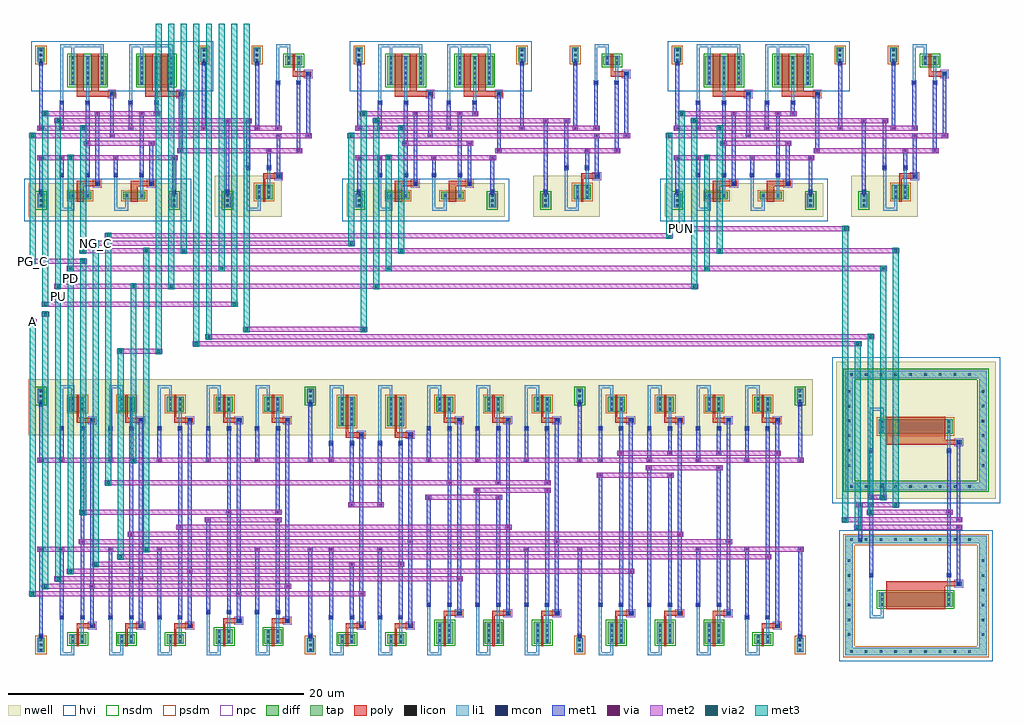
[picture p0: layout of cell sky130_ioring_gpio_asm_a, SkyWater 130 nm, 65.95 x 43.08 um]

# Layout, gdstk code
import gdstk
lib = gdstk.Library(unit=1e-6, precision=1e-09)
def R(c, l, rs):  # rectangles x0, y0, x1, y1
    for r in rs: c.add(gdstk.rectangle(r[:2], r[2:], *l))
def A(c, l, x, y, w, h, nx, ny, dx, dy):  # array of equal rectangles
    R(c, l, [(x+i*dx, y+j*dy, x+i*dx+w, y+j*dy+h) for i in range(nx) for j in range(ny)])
nwell = (64, 20)
diff = (65, 20)
tap = (65, 44)
poly = (66, 20)
licon = (66, 44)
li1 = (67, 20)
mcon = (67, 44)
met1 = (68, 20)
via = (68, 44)
met2 = (69, 20)
via2 = (69, 44)
met3 = (70, 20)
hvi = (75, 20)
nsdm = (93, 44)
psdm = (94, 20)
npc = (95, 20)

sky130_ioring_gpio_logic = lib.new_cell('sky130_ioring_gpio_logic')
R(sky130_ioring_gpio_logic, nwell, [(0.4,15.57,53.4,19.34)])
A(sky130_ioring_gpio_logic, diff, 3.15, 1.47, 1.15, 0.65, 3, 1, 3.3, 0)
A(sky130_ioring_gpio_logic, diff, 27.95, 1.47, 1.15, 1.5, 3, 1, 3.3, 0)
A(sky130_ioring_gpio_logic, diff, 39.55, 1.47, 1.15, 1.5, 3, 1, 3.3, 0)
A(sky130_ioring_gpio_logic, diff, 3.15, 17.17, 1.15, 1, 5, 1, 3.3, 0)
A(sky130_ioring_gpio_logic, diff, 27.95, 17.17, 1.15, 1, 3, 1, 3.3, 0)
A(sky130_ioring_gpio_logic, diff, 39.55, 17.17, 1.15, 1, 4, 1, 3.3, 0)
R(sky130_ioring_gpio_logic, diff, [(13.05,1.47,14.2,2.47), (16.35,1.47,17.5,2.47), (21.35,1.47,22.5,2.12), (24.65,1.47,25.8,2.12), (49.45,1.47,50.6,2.12), (21.35,16.17,22.5,18.17), (24.65,16.17,25.8,18.17)])
A(sky130_ioring_gpio_logic, tap, 1, 0.9, 0.5, 1, 3, 2, 18.2, 16.84)
R(sky130_ioring_gpio_logic, tap, [(52.3,0.9,52.8,1.9), (52.3,17.74,52.8,18.74)])
A(sky130_ioring_gpio_logic, poly, 3.65, 1.32, 0.15, 1.2, 3, 1, 3.3, 0)
A(sky130_ioring_gpio_logic, poly, 28.45, 1.32, 0.15, 2.05, 3, 1, 3.3, 0)
A(sky130_ioring_gpio_logic, poly, 40.05, 1.32, 0.15, 2.05, 3, 1, 3.3, 0)
A(sky130_ioring_gpio_logic, poly, 3.65, 2.52, 1.25, 0.35, 3, 1, 3.3, 0)
A(sky130_ioring_gpio_logic, poly, 28.45, 3.37, 1.25, 0.35, 3, 2, 3.3, 13.05)
A(sky130_ioring_gpio_logic, poly, 40.05, 3.37, 1.25, 0.35, 3, 1, 3.3, 0)
A(sky130_ioring_gpio_logic, poly, 3.65, 16.42, 1.25, 0.35, 5, 1, 3.3, 0)
A(sky130_ioring_gpio_logic, poly, 40.05, 16.42, 1.25, 0.35, 4, 1, 3.3, 0)
A(sky130_ioring_gpio_logic, poly, 3.65, 16.77, 0.15, 1.55, 5, 1, 3.3, 0)
A(sky130_ioring_gpio_logic, poly, 28.45, 16.77, 0.15, 1.55, 3, 1, 3.3, 0)
A(sky130_ioring_gpio_logic, poly, 40.05, 16.77, 0.15, 1.55, 4, 1, 3.3, 0)
R(sky130_ioring_gpio_logic, poly, [(13.55,1.32,13.7,2.87), (16.85,1.32,17,2.87), (21.85,1.32,22,2.52), (25.15,1.32,25.3,2.52), (49.95,1.32,50.1,2.52), (21.85,2.52,23.1,2.87), (25.15,2.52,26.4,2.87), (49.95,2.52,51.2,2.87), (13.55,2.87,14.8,3.22), (16.85,2.87,18.1,3.22), (21.85,15.42,23.1,15.77), (25.15,15.42,26.4,15.77), (21.85,15.77,22,18.32), (25.15,15.77,25.3,18.32)])
A(sky130_ioring_gpio_logic, licon, 1.165, 0.975, 0.17, 0.17, 3, 3, 18.2, 0.34)
A(sky130_ioring_gpio_logic, licon, 52.465, 0.975, 0.17, 0.17, 1, 3, 0, 0.34)
A(sky130_ioring_gpio_logic, licon, 13.215, 1.545, 0.17, 0.17, 1, 3, 0, 0.34)
A(sky130_ioring_gpio_logic, licon, 13.865, 1.545, 0.17, 0.17, 1, 3, 0, 0.34)
A(sky130_ioring_gpio_logic, licon, 16.515, 1.545, 0.17, 0.17, 1, 3, 0, 0.34)
A(sky130_ioring_gpio_logic, licon, 17.165, 1.545, 0.17, 0.17, 1, 3, 0, 0.34)
A(sky130_ioring_gpio_logic, licon, 28.115, 1.625, 0.17, 0.17, 1, 4, 0, 0.34)
A(sky130_ioring_gpio_logic, licon, 28.765, 1.625, 0.17, 0.17, 1, 4, 0, 0.34)
A(sky130_ioring_gpio_logic, licon, 31.415, 1.625, 0.17, 0.17, 1, 4, 0, 0.34)
A(sky130_ioring_gpio_logic, licon, 32.065, 1.625, 0.17, 0.17, 1, 4, 0, 0.34)
A(sky130_ioring_gpio_logic, licon, 34.715, 1.625, 0.17, 0.17, 1, 4, 0, 0.34)
A(sky130_ioring_gpio_logic, licon, 35.365, 1.625, 0.17, 0.17, 1, 4, 0, 0.34)
A(sky130_ioring_gpio_logic, licon, 39.715, 1.625, 0.17, 0.17, 1, 4, 0, 0.34)
A(sky130_ioring_gpio_logic, licon, 40.365, 1.625, 0.17, 0.17, 1, 4, 0, 0.34)
A(sky130_ioring_gpio_logic, licon, 43.015, 1.625, 0.17, 0.17, 1, 4, 0, 0.34)
A(sky130_ioring_gpio_logic, licon, 43.665, 1.625, 0.17, 0.17, 1, 4, 0, 0.34)
A(sky130_ioring_gpio_logic, licon, 46.315, 1.625, 0.17, 0.17, 1, 4, 0, 0.34)
A(sky130_ioring_gpio_logic, licon, 46.965, 1.625, 0.17, 0.17, 1, 4, 0, 0.34)
A(sky130_ioring_gpio_logic, licon, 4.615, 2.61, 0.17, 0.17, 3, 1, 3.3, 0)
A(sky130_ioring_gpio_logic, licon, 29.415, 3.46, 0.17, 0.17, 3, 2, 3.3, 13.05)
A(sky130_ioring_gpio_logic, licon, 41.015, 3.46, 0.17, 0.17, 3, 1, 3.3, 0)
A(sky130_ioring_gpio_logic, licon, 21.515, 16.235, 0.17, 0.17, 1, 6, 0, 0.34)
A(sky130_ioring_gpio_logic, licon, 22.165, 16.235, 0.17, 0.17, 1, 6, 0, 0.34)
A(sky130_ioring_gpio_logic, licon, 24.815, 16.235, 0.17, 0.17, 1, 6, 0, 0.34)
A(sky130_ioring_gpio_logic, licon, 25.465, 16.235, 0.17, 0.17, 1, 6, 0, 0.34)
A(sky130_ioring_gpio_logic, licon, 4.615, 16.51, 0.17, 0.17, 5, 1, 3.3, 0)
A(sky130_ioring_gpio_logic, licon, 41.015, 16.51, 0.17, 0.17, 4, 1, 3.3, 0)
A(sky130_ioring_gpio_logic, licon, 3.315, 17.245, 0.17, 0.17, 1, 3, 0, 0.34)
A(sky130_ioring_gpio_logic, licon, 3.965, 17.245, 0.17, 0.17, 1, 3, 0, 0.34)
A(sky130_ioring_gpio_logic, licon, 6.615, 17.245, 0.17, 0.17, 1, 3, 0, 0.34)
A(sky130_ioring_gpio_logic, licon, 7.265, 17.245, 0.17, 0.17, 1, 3, 0, 0.34)
A(sky130_ioring_gpio_logic, licon, 9.915, 17.245, 0.17, 0.17, 1, 3, 0, 0.34)
A(sky130_ioring_gpio_logic, licon, 10.565, 17.245, 0.17, 0.17, 1, 3, 0, 0.34)
A(sky130_ioring_gpio_logic, licon, 13.215, 17.245, 0.17, 0.17, 1, 3, 0, 0.34)
A(sky130_ioring_gpio_logic, licon, 13.865, 17.245, 0.17, 0.17, 1, 3, 0, 0.34)
A(sky130_ioring_gpio_logic, licon, 16.515, 17.245, 0.17, 0.17, 1, 3, 0, 0.34)
A(sky130_ioring_gpio_logic, licon, 17.165, 17.245, 0.17, 0.17, 1, 3, 0, 0.34)
A(sky130_ioring_gpio_logic, licon, 28.115, 17.245, 0.17, 0.17, 1, 3, 0, 0.34)
A(sky130_ioring_gpio_logic, licon, 28.765, 17.245, 0.17, 0.17, 1, 3, 0, 0.34)
A(sky130_ioring_gpio_logic, licon, 31.415, 17.245, 0.17, 0.17, 1, 3, 0, 0.34)
A(sky130_ioring_gpio_logic, licon, 32.065, 17.245, 0.17, 0.17, 1, 3, 0, 0.34)
A(sky130_ioring_gpio_logic, licon, 34.715, 17.245, 0.17, 0.17, 1, 3, 0, 0.34)
A(sky130_ioring_gpio_logic, licon, 35.365, 17.245, 0.17, 0.17, 1, 3, 0, 0.34)
A(sky130_ioring_gpio_logic, licon, 39.715, 17.245, 0.17, 0.17, 1, 3, 0, 0.34)
A(sky130_ioring_gpio_logic, licon, 40.365, 17.245, 0.17, 0.17, 1, 3, 0, 0.34)
A(sky130_ioring_gpio_logic, licon, 43.015, 17.245, 0.17, 0.17, 1, 3, 0, 0.34)
A(sky130_ioring_gpio_logic, licon, 43.665, 17.245, 0.17, 0.17, 1, 3, 0, 0.34)
A(sky130_ioring_gpio_logic, licon, 46.315, 17.245, 0.17, 0.17, 1, 3, 0, 0.34)
A(sky130_ioring_gpio_logic, licon, 46.965, 17.245, 0.17, 0.17, 1, 3, 0, 0.34)
A(sky130_ioring_gpio_logic, licon, 49.615, 17.245, 0.17, 0.17, 1, 3, 0, 0.34)
A(sky130_ioring_gpio_logic, licon, 50.265, 17.245, 0.17, 0.17, 1, 3, 0, 0.34)
A(sky130_ioring_gpio_logic, licon, 1.165, 17.815, 0.17, 0.17, 3, 3, 18.2, 0.34)
A(sky130_ioring_gpio_logic, licon, 52.465, 17.815, 0.17, 0.17, 1, 3, 0, 0.34)
R(sky130_ioring_gpio_logic, licon, [(3.315,1.54,3.485,1.71), (3.965,1.54,4.135,1.71), (6.615,1.54,6.785,1.71), (7.265,1.54,7.435,1.71), (9.915,1.54,10.085,1.71), (10.565,1.54,10.735,1.71), (21.515,1.54,21.685,1.71), (22.165,1.54,22.335,1.71), (24.815,1.54,24.985,1.71), (25.465,1.54,25.635,1.71), (49.615,1.54,49.785,1.71), (50.265,1.54,50.435,1.71), (3.315,1.88,3.485,2.05), (3.965,1.88,4.135,2.05), (6.615,1.88,6.785,2.05), (7.265,1.88,7.435,2.05), (9.915,1.88,10.085,2.05), (10.565,1.88,10.735,2.05), (21.515,1.88,21.685,2.05), (22.165,1.88,22.335,2.05), (24.815,1.88,24.985,2.05), (25.465,1.88,25.635,2.05), (49.615,1.88,49.785,2.05), (50.265,1.88,50.435,2.05), (22.815,2.61,22.985,2.78), (26.115,2.61,26.285,2.78), (50.915,2.61,51.085,2.78), (14.515,2.96,14.685,3.13), (17.815,2.96,17.985,3.13), (22.815,15.51,22.985,15.68), (26.115,15.51,26.285,15.68)])
A(sky130_ioring_gpio_logic, li1, 2.55, 0.7, 0.95, 0.2, 5, 2, 3.3, 18.04)
A(sky130_ioring_gpio_logic, li1, 2.55, 0.7, 0.2, 2.72, 3, 1, 3.3, 0)
A(sky130_ioring_gpio_logic, li1, 3.3, 0.7, 0.2, 1.41, 3, 1, 3.3, 0)
A(sky130_ioring_gpio_logic, li1, 20.75, 0.7, 0.95, 0.2, 5, 2, 3.3, 18.04)
A(sky130_ioring_gpio_logic, li1, 27.35, 0.7, 0.2, 3.57, 3, 1, 3.3, 0)
A(sky130_ioring_gpio_logic, li1, 28.1, 0.7, 0.2, 2.175, 3, 1, 3.3, 0)
A(sky130_ioring_gpio_logic, li1, 38.95, 0.7, 0.95, 0.2, 4, 2, 3.3, 18.04)
A(sky130_ioring_gpio_logic, li1, 38.95, 0.7, 0.2, 3.57, 3, 1, 3.3, 0)
A(sky130_ioring_gpio_logic, li1, 39.7, 0.7, 0.2, 2.175, 3, 1, 3.3, 0)
A(sky130_ioring_gpio_logic, li1, 1.05, 0.95, 0.4, 0.9, 3, 2, 18.2, 16.84)
A(sky130_ioring_gpio_logic, li1, 3.95, 1.48, 0.2, 1.94, 3, 1, 3.3, 0)
A(sky130_ioring_gpio_logic, li1, 28.75, 1.565, 0.2, 2.705, 3, 1, 3.3, 0)
A(sky130_ioring_gpio_logic, li1, 40.35, 1.565, 0.2, 2.705, 3, 1, 3.3, 0)
A(sky130_ioring_gpio_logic, li1, 1.1, 1.85, 0.3, 0.3, 3, 2, 18.2, 15.64)
A(sky130_ioring_gpio_logic, li1, 4.55, 2.52, 0.3, 0.35, 3, 1, 3.3, 0)
A(sky130_ioring_gpio_logic, li1, 3.95, 3.12, 0.2, 0.2, 3, 1, 3.3, 0)
A(sky130_ioring_gpio_logic, li1, 29.35, 3.37, 0.3, 0.35, 3, 2, 3.3, 13.05)
A(sky130_ioring_gpio_logic, li1, 40.95, 3.37, 0.3, 0.35, 3, 1, 3.3, 0)
A(sky130_ioring_gpio_logic, li1, 28.75, 3.97, 0.2, 0.2, 3, 2, 3.3, 12)
A(sky130_ioring_gpio_logic, li1, 40.35, 3.97, 0.2, 0.2, 3, 1, 3.3, 0)
A(sky130_ioring_gpio_logic, li1, 2.55, 15.87, 0.2, 3.07, 5, 1, 3.3, 0)
A(sky130_ioring_gpio_logic, li1, 3.95, 15.87, 0.2, 2.285, 5, 1, 3.3, 0)
A(sky130_ioring_gpio_logic, li1, 27.35, 15.87, 0.2, 3.07, 3, 1, 3.3, 0)
A(sky130_ioring_gpio_logic, li1, 28.75, 15.87, 0.2, 2.285, 3, 1, 3.3, 0)
A(sky130_ioring_gpio_logic, li1, 38.95, 15.87, 0.2, 3.07, 4, 1, 3.3, 0)
A(sky130_ioring_gpio_logic, li1, 40.35, 15.87, 0.2, 2.285, 4, 1, 3.3, 0)
A(sky130_ioring_gpio_logic, li1, 3.95, 15.97, 0.2, 0.2, 5, 1, 3.3, 0)
A(sky130_ioring_gpio_logic, li1, 40.35, 15.97, 0.2, 0.2, 4, 1, 3.3, 0)
A(sky130_ioring_gpio_logic, li1, 4.55, 16.42, 0.3, 0.35, 5, 1, 3.3, 0)
A(sky130_ioring_gpio_logic, li1, 40.95, 16.42, 0.3, 0.35, 4, 1, 3.3, 0)
A(sky130_ioring_gpio_logic, li1, 3.3, 17.185, 0.2, 1.755, 5, 1, 3.3, 0)
A(sky130_ioring_gpio_logic, li1, 28.1, 17.185, 0.2, 1.755, 3, 1, 3.3, 0)
A(sky130_ioring_gpio_logic, li1, 39.7, 17.185, 0.2, 1.755, 4, 1, 3.3, 0)
R(sky130_ioring_gpio_logic, li1, [(12.45,0.7,12.65,3.77), (13.2,0.7,13.4,2.455), (15.75,0.7,15.95,3.77), (16.5,0.7,16.7,2.455), (20.75,0.7,20.95,3.42), (21.5,0.7,21.7,2.11), (24.05,0.7,24.25,3.42), (24.8,0.7,25,2.11), (48.85,0.7,49.05,3.42), (49.6,0.7,49.8,2.11), (52.35,0.95,52.75,1.85), (22.15,1.48,22.35,3.42), (25.45,1.48,25.65,3.42), (50.25,1.48,50.45,3.42), (13.85,1.485,14.05,3.77), (17.15,1.485,17.35,3.77), (52.4,1.85,52.7,2.15), (22.75,2.52,23.05,2.87), (26.05,2.52,26.35,2.87), (50.85,2.52,51.15,2.87), (14.45,2.87,14.75,3.22), (17.75,2.87,18.05,3.22), (2.5,3.12,2.8,3.42), (3.9,3.12,4.2,3.42), (5.8,3.12,6.1,3.42), (7.2,3.12,7.5,3.42), (9.1,3.12,9.4,3.42), (10.5,3.12,10.8,3.42), (20.7,3.12,21,3.42), (22.1,3.12,22.4,3.42), (22.15,3.12,22.35,3.32), (24,3.12,24.3,3.42), (25.4,3.12,25.7,3.42), (25.45,3.12,25.65,3.32), (48.8,3.12,49.1,3.42), (50.2,3.12,50.5,3.42), (50.25,3.12,50.45,3.32), (12.4,3.47,12.7,3.77), (13.8,3.47,14.1,3.77), (13.85,3.47,14.05,3.67), (15.7,3.47,16,3.77), (17.1,3.47,17.4,3.77), (17.15,3.47,17.35,3.67), (27.3,3.97,27.6,4.27), (28.7,3.97,29,4.27), (30.6,3.97,30.9,4.27), (32,3.97,32.3,4.27), (33.9,3.97,34.2,4.27), (35.3,3.97,35.6,4.27), (38.9,3.97,39.2,4.27), (40.3,3.97,40.6,4.27), (42.2,3.97,42.5,4.27), (43.6,3.97,43.9,4.27), (45.5,3.97,45.8,4.27), (46.9,3.97,47.2,4.27), (20.7,14.87,21,15.17), (20.75,14.87,20.95,18.94), (22.1,14.87,22.4,15.17), (22.15,14.87,22.35,18.165), (24,14.87,24.3,15.17), (24.05,14.87,24.25,18.94), (25.4,14.87,25.7,15.17), (25.45,14.87,25.65,18.165), (22.15,14.97,22.35,15.17), (25.45,14.97,25.65,15.17), (22.75,15.42,23.05,15.77), (26.05,15.42,26.35,15.77), (2.5,15.87,2.8,16.17), (3.9,15.87,4.2,16.17), (5.8,15.87,6.1,16.17), (7.2,15.87,7.5,16.17), (9.1,15.87,9.4,16.17), (10.5,15.87,10.8,16.17), (12.4,15.87,12.7,16.17), (13.8,15.87,14.1,16.17), (15.7,15.87,16,16.17), (17.1,15.87,17.4,16.17), (27.3,15.87,27.6,16.17), (28.7,15.87,29,16.17), (30.6,15.87,30.9,16.17), (32,15.87,32.3,16.17), (33.9,15.87,34.2,16.17), (35.3,15.87,35.6,16.17), (38.9,15.87,39.2,16.17), (40.3,15.87,40.6,16.17), (42.2,15.87,42.5,16.17), (43.6,15.87,43.9,16.17), (45.5,15.87,45.8,16.17), (46.9,15.87,47.2,16.17), (48.8,15.87,49.1,16.17), (50.2,15.87,50.5,16.17), (21.5,16.175,21.7,18.94), (24.8,16.175,25,18.94), (52.4,17.49,52.7,17.79), (52.35,17.79,52.75,18.69)])
A(sky130_ioring_gpio_logic, mcon, 1.165, 1.915, 0.17, 0.17, 3, 2, 18.2, 15.64)
A(sky130_ioring_gpio_logic, mcon, 4.615, 2.61, 0.17, 0.17, 3, 1, 3.3, 0)
A(sky130_ioring_gpio_logic, mcon, 29.415, 3.46, 0.17, 0.17, 3, 2, 3.3, 13.05)
A(sky130_ioring_gpio_logic, mcon, 41.015, 3.46, 0.17, 0.17, 3, 1, 3.3, 0)
A(sky130_ioring_gpio_logic, mcon, 4.615, 16.51, 0.17, 0.17, 5, 1, 3.3, 0)
A(sky130_ioring_gpio_logic, mcon, 41.015, 16.51, 0.17, 0.17, 4, 1, 3.3, 0)
R(sky130_ioring_gpio_logic, mcon, [(52.465,1.915,52.635,2.085), (22.815,2.61,22.985,2.78), (26.115,2.61,26.285,2.78), (50.915,2.61,51.085,2.78), (14.515,2.96,14.685,3.13), (17.815,2.96,17.985,3.13), (2.565,3.185,2.735,3.355), (3.965,3.185,4.135,3.355), (5.865,3.185,6.035,3.355), (7.265,3.185,7.435,3.355), (9.165,3.185,9.335,3.355), (10.565,3.185,10.735,3.355), (20.765,3.185,20.935,3.355), (22.165,3.185,22.335,3.355), (24.065,3.185,24.235,3.355), (25.465,3.185,25.635,3.355), (48.865,3.185,49.035,3.355), (50.265,3.185,50.435,3.355), (12.465,3.535,12.635,3.705), (13.865,3.535,14.035,3.705), (15.765,3.535,15.935,3.705), (17.165,3.535,17.335,3.705), (27.365,4.035,27.535,4.205), (28.765,4.035,28.935,4.205), (30.665,4.035,30.835,4.205), (32.065,4.035,32.235,4.205), (33.965,4.035,34.135,4.205), (35.365,4.035,35.535,4.205), (38.965,4.035,39.135,4.205), (40.365,4.035,40.535,4.205), (42.265,4.035,42.435,4.205), (43.665,4.035,43.835,4.205), (45.565,4.035,45.735,4.205), (46.965,4.035,47.135,4.205), (20.765,14.935,20.935,15.105), (22.165,14.935,22.335,15.105), (24.065,14.935,24.235,15.105), (25.465,14.935,25.635,15.105), (22.815,15.51,22.985,15.68), (26.115,15.51,26.285,15.68), (2.565,15.935,2.735,16.105), (3.965,15.935,4.135,16.105), (5.865,15.935,6.035,16.105), (7.265,15.935,7.435,16.105), (9.165,15.935,9.335,16.105), (10.565,15.935,10.735,16.105), (12.465,15.935,12.635,16.105), (13.865,15.935,14.035,16.105), (15.765,15.935,15.935,16.105), (17.165,15.935,17.335,16.105), (27.365,15.935,27.535,16.105), (28.765,15.935,28.935,16.105), (30.665,15.935,30.835,16.105), (32.065,15.935,32.235,16.105), (33.965,15.935,34.135,16.105), (35.365,15.935,35.535,16.105), (38.965,15.935,39.135,16.105), (40.365,15.935,40.535,16.105), (42.265,15.935,42.435,16.105), (43.665,15.935,43.835,16.105), (45.565,15.935,45.735,16.105), (46.965,15.935,47.135,16.105), (48.865,15.935,49.035,16.105), (50.265,15.935,50.435,16.105), (52.465,17.555,52.635,17.725)])
A(sky130_ioring_gpio_logic, met1, 1.12, 1.87, 0.26, 6.17, 3, 1, 18.2, 0)
A(sky130_ioring_gpio_logic, met1, 2.52, 3.14, 0.26, 4.9, 3, 1, 3.3, 0)
A(sky130_ioring_gpio_logic, met1, 2.48, 7.7, 0.34, 0.34, 3, 1, 3.3, 0)
A(sky130_ioring_gpio_logic, met1, 28.68, 12.2, 0.34, 0.34, 3, 1, 3.3, 0)
A(sky130_ioring_gpio_logic, met1, 28.72, 12.24, 0.26, 3.95, 3, 1, 3.3, 0)
A(sky130_ioring_gpio_logic, met1, 2.48, 13.7, 0.34, 0.34, 5, 1, 3.3, 0)
A(sky130_ioring_gpio_logic, met1, 27.28, 13.7, 0.34, 0.34, 3, 1, 3.3, 0)
A(sky130_ioring_gpio_logic, met1, 38.88, 13.7, 0.34, 0.34, 4, 1, 3.3, 0)
A(sky130_ioring_gpio_logic, met1, 1.12, 13.74, 0.26, 4.07, 3, 1, 18.2, 0)
A(sky130_ioring_gpio_logic, met1, 2.52, 13.74, 0.26, 2.45, 5, 1, 3.3, 0)
A(sky130_ioring_gpio_logic, met1, 27.32, 13.74, 0.26, 2.45, 3, 1, 3.3, 0)
A(sky130_ioring_gpio_logic, met1, 38.92, 13.74, 0.26, 2.45, 4, 1, 3.3, 0)
A(sky130_ioring_gpio_logic, met1, 40.28, 14.2, 0.34, 0.34, 3, 1, 3.3, 0)
A(sky130_ioring_gpio_logic, met1, 40.32, 14.24, 0.26, 1.95, 3, 1, 3.3, 0)
R(sky130_ioring_gpio_logic, met1, [(52.42,1.87,52.68,8.04), (4.57,2.565,4.83,5.54), (7.87,2.565,8.13,6.04), (11.17,2.565,11.43,6.54), (22.77,2.565,23.03,5.04), (26.07,2.565,26.33,8.54), (50.87,2.565,51.13,14.54), (14.47,2.915,14.73,5.04), (17.77,2.915,18.03,5.54), (3.92,3.14,4.18,8.54), (7.22,3.14,7.48,9.04), (10.52,3.14,10.78,9.54), (20.72,3.14,20.98,8.04), (22.12,3.14,22.38,7.04), (24.02,3.14,24.28,8.04), (25.42,3.14,25.68,7.04), (48.82,3.14,49.08,8.04), (50.22,3.14,50.48,7.54), (29.37,3.415,29.63,6.04), (32.67,3.415,32.93,9.54), (35.97,3.415,36.23,8.54), (40.97,3.415,41.23,6.54), (44.27,3.415,44.53,9.04), (47.57,3.415,47.83,8.54), (12.42,3.49,12.68,10.04), (13.82,3.49,14.08,10.54), (15.72,3.49,15.98,8.04), (17.12,3.49,17.38,10.04), (27.32,3.99,27.58,11.54), (28.72,3.99,28.98,12.54), (30.62,3.99,30.88,12.04), (32.02,3.99,32.28,11.54), (33.92,3.99,34.18,8.04), (35.32,3.99,35.58,12.04), (38.92,3.99,39.18,13.04), (40.32,3.99,40.58,14.54), (42.22,3.99,42.48,13.54), (43.62,3.99,43.88,13.04), (45.52,3.99,45.78,8.04), (46.92,3.99,47.18,13.54), (14.43,4.7,14.77,5.04), (22.73,4.7,23.07,5.04), (14.47,4.74,14.73,16.765), (22.77,4.74,23.03,15.765), (4.53,5.2,4.87,5.54), (17.73,5.2,18.07,5.54), (4.57,5.24,4.83,16.765), (17.77,5.24,18.03,16.765), (7.83,5.7,8.17,6.04), (29.33,5.7,29.67,6.04), (7.87,5.74,8.13,16.765), (29.37,5.74,29.63,16.765), (11.13,6.2,11.47,6.54), (40.93,6.2,41.27,6.54), (11.17,6.24,11.43,16.765), (40.97,6.24,41.23,16.765), (22.08,6.7,22.42,7.04), (25.38,6.7,25.72,7.04), (25.42,6.74,25.68,15.19), (50.18,7.2,50.52,7.54), (50.22,7.24,50.48,16.19), (1.08,7.7,1.42,8.04), (15.68,7.7,16.02,8.04), (19.28,7.7,19.62,8.04), (20.68,7.7,21.02,8.04), (23.98,7.7,24.32,8.04), (33.88,7.7,34.22,8.04), (37.48,7.7,37.82,8.04), (45.48,7.7,45.82,8.04), (48.78,7.7,49.12,8.04), (52.38,7.7,52.72,8.04), (3.88,8.2,4.22,8.54), (26.03,8.2,26.37,8.54), (35.93,8.2,36.27,8.54), (47.53,8.2,47.87,8.54), (3.92,8.24,4.18,16.19), (26.07,8.24,26.33,15.765), (35.97,8.24,36.23,16.765), (47.57,8.24,47.83,16.765), (7.18,8.7,7.52,9.04), (44.23,8.7,44.57,9.04), (7.22,8.74,7.48,16.19), (44.27,8.74,44.53,16.765), (10.48,9.2,10.82,9.54), (32.63,9.2,32.97,9.54), (10.52,9.24,10.78,16.19), (32.67,9.24,32.93,16.765), (12.38,9.7,12.72,10.04), (17.08,9.7,17.42,10.04), (13.78,10.2,14.12,10.54), (17.08,10.2,17.42,10.54), (13.82,10.24,14.08,16.19), (17.12,10.24,17.38,16.19), (22.08,10.7,22.42,11.04), (23.98,10.7,24.32,11.04), (22.12,10.74,22.38,15.19), (24.02,10.74,24.28,15.19), (27.28,11.2,27.62,11.54), (31.98,11.2,32.32,11.54), (30.58,11.7,30.92,12.04), (35.28,11.7,35.62,12.04), (38.88,12.7,39.22,13.04), (43.58,12.7,43.92,13.04), (42.18,13.2,42.52,13.54), (46.88,13.2,47.22,13.54), (1.08,13.7,1.42,14.04), (19.28,13.7,19.62,14.04), (20.68,13.7,21.02,14.04), (37.48,13.7,37.82,14.04), (52.38,13.7,52.72,14.04), (20.72,13.74,20.98,15.19), (52.42,13.74,52.68,17.81), (50.83,14.2,51.17,14.54), (50.87,14.24,51.13,16.765)])
A(sky130_ioring_gpio_logic, via, 2.575, 7.795, 0.15, 0.15, 3, 1, 3.3, 0)
A(sky130_ioring_gpio_logic, via, 28.775, 12.295, 0.15, 0.15, 3, 1, 3.3, 0)
A(sky130_ioring_gpio_logic, via, 2.575, 13.795, 0.15, 0.15, 5, 1, 3.3, 0)
A(sky130_ioring_gpio_logic, via, 27.375, 13.795, 0.15, 0.15, 3, 1, 3.3, 0)
A(sky130_ioring_gpio_logic, via, 38.975, 13.795, 0.15, 0.15, 4, 1, 3.3, 0)
A(sky130_ioring_gpio_logic, via, 40.375, 14.295, 0.15, 0.15, 3, 1, 3.3, 0)
R(sky130_ioring_gpio_logic, via, [(14.525,4.795,14.675,4.945), (22.825,4.795,22.975,4.945), (4.625,5.295,4.775,5.445), (17.825,5.295,17.975,5.445), (7.925,5.795,8.075,5.945), (29.425,5.795,29.575,5.945), (11.225,6.295,11.375,6.445), (41.025,6.295,41.175,6.445), (22.175,6.795,22.325,6.945), (25.475,6.795,25.625,6.945), (50.275,7.295,50.425,7.445), (1.175,7.795,1.325,7.945), (15.775,7.795,15.925,7.945), (19.375,7.795,19.525,7.945), (20.775,7.795,20.925,7.945), (24.075,7.795,24.225,7.945), (33.975,7.795,34.125,7.945), (37.575,7.795,37.725,7.945), (45.575,7.795,45.725,7.945), (48.875,7.795,49.025,7.945), (52.475,7.795,52.625,7.945), (3.975,8.295,4.125,8.445), (26.125,8.295,26.275,8.445), (36.025,8.295,36.175,8.445), (47.625,8.295,47.775,8.445), (7.275,8.795,7.425,8.945), (44.325,8.795,44.475,8.945), (10.575,9.295,10.725,9.445), (32.725,9.295,32.875,9.445), (12.475,9.795,12.625,9.945), (17.175,9.795,17.325,9.945), (13.875,10.295,14.025,10.445), (17.175,10.295,17.325,10.445), (22.175,10.795,22.325,10.945), (24.075,10.795,24.225,10.945), (27.375,11.295,27.525,11.445), (32.075,11.295,32.225,11.445), (30.675,11.795,30.825,11.945), (35.375,11.795,35.525,11.945), (38.975,12.795,39.125,12.945), (43.675,12.795,43.825,12.945), (42.275,13.295,42.425,13.445), (46.975,13.295,47.125,13.445), (1.175,13.795,1.325,13.945), (19.375,13.795,19.525,13.945), (20.775,13.795,20.925,13.945), (37.575,13.795,37.725,13.945), (52.475,13.795,52.625,13.945), (50.925,14.295,51.075,14.445)])
R(sky130_ioring_gpio_logic, met2, [(0.45,4.7,23.15,5.04), (1.3,5.2,18.15,5.54), (2.15,5.7,29.75,6.04), (3,6.2,41.35,6.54), (4.7,6.7,25.8,7.04), (6.4,7.2,50.6,7.54), (1,7.7,52.8,8.04), (3.8,8.2,47.95,8.54), (7.1,8.7,44.65,9.04), (10.4,9.2,33.05,9.54), (12.3,9.7,17.5,10.04), (3.85,10.2,17.5,10.54), (22,10.7,24.4,11.04), (27.2,11.2,32.4,11.54), (30.5,11.7,35.7,12.04), (5.55,12.2,35.7,12.54), (38.8,12.7,44,13.04), (42.1,13.2,47.3,13.54), (1,13.7,52.8,14.04), (40.2,14.2,51.25,14.54)])
R(sky130_ioring_gpio_logic, via2, [(0.6,4.77,0.8,4.97), (1.45,5.27,1.65,5.47), (2.3,5.77,2.5,5.97), (3.15,6.27,3.35,6.47), (4.85,6.77,5.05,6.97), (6.55,7.27,6.75,7.47), (8.25,7.77,8.45,7.97), (4,10.27,4.2,10.47), (5.7,12.27,5.9,12.47), (7.4,13.77,7.6,13.97)])
R(sky130_ioring_gpio_logic, met3, [(0.5,4.67,0.9,19.64), (1.35,5.17,1.75,19.64), (2.2,5.67,2.6,19.64), (3.05,6.17,3.45,19.64), (4.75,6.67,5.15,19.64), (6.45,7.17,6.85,19.64), (8.15,7.67,8.55,19.64), (3.9,10.17,4.3,19.64), (5.6,12.17,6,19.64), (7.3,13.67,7.7,19.64)])
A(sky130_ioring_gpio_logic, nsdm, 3.025, 1.345, 1.4, 0.9, 3, 1, 3.3, 0)
A(sky130_ioring_gpio_logic, nsdm, 27.825, 1.345, 1.4, 1.75, 3, 1, 3.3, 0)
A(sky130_ioring_gpio_logic, nsdm, 39.425, 1.345, 1.4, 1.75, 3, 1, 3.3, 0)
A(sky130_ioring_gpio_logic, nsdm, 0.875, 17.615, 0.75, 1.25, 3, 1, 18.2, 0)
R(sky130_ioring_gpio_logic, nsdm, [(12.925,1.345,14.325,2.595), (16.225,1.345,17.625,2.595), (21.225,1.345,22.625,2.245), (24.525,1.345,25.925,2.245), (49.325,1.345,50.725,2.245), (52.175,17.615,52.925,18.865)])
A(sky130_ioring_gpio_logic, psdm, 0.875, 0.775, 0.75, 1.25, 3, 1, 18.2, 0)
A(sky130_ioring_gpio_logic, psdm, 3.025, 17.045, 1.4, 1.25, 5, 1, 3.3, 0)
A(sky130_ioring_gpio_logic, psdm, 27.825, 17.045, 1.4, 1.25, 3, 1, 3.3, 0)
A(sky130_ioring_gpio_logic, psdm, 39.425, 17.045, 1.4, 1.25, 4, 1, 3.3, 0)
R(sky130_ioring_gpio_logic, psdm, [(52.175,0.775,52.925,2.025), (21.225,16.045,22.625,18.295), (24.525,16.045,25.925,18.295)])
A(sky130_ioring_gpio_logic, npc, 4.4, 2.42, 0.6, 0.55, 3, 1, 3.3, 0)
A(sky130_ioring_gpio_logic, npc, 29.2, 3.27, 0.6, 0.55, 3, 2, 3.3, 13.05)
A(sky130_ioring_gpio_logic, npc, 40.8, 3.27, 0.6, 0.55, 3, 1, 3.3, 0)
A(sky130_ioring_gpio_logic, npc, 4.4, 16.32, 0.6, 0.55, 5, 1, 3.3, 0)
A(sky130_ioring_gpio_logic, npc, 40.8, 16.32, 0.6, 0.55, 4, 1, 3.3, 0)
R(sky130_ioring_gpio_logic, npc, [(22.6,2.42,23.2,2.97), (25.9,2.42,26.5,2.97), (50.7,2.42,51.3,2.97), (14.3,2.77,14.9,3.32), (17.6,2.77,18.2,3.32), (22.6,15.32,23.2,15.87), (25.9,15.32,26.5,15.87)])

sky130_ioring_gpio_pulls = lib.new_cell('sky130_ioring_gpio_pulls')
R(sky130_ioring_gpio_pulls, nwell, [(0.1,11.27,10.85,20.54)])
R(sky130_ioring_gpio_pulls, diff, [(2.95,3.97,7.95,4.97), (2.95,15.67,7.95,16.67)])
R(sky130_ioring_gpio_pulls, tap, [(0.7,0.7,10.25,1.2), (0.7,1.2,1.2,8.27), (9.75,1.2,10.25,8.27), (0.7,8.27,10.25,8.77), (0.7,11.87,10.25,12.37), (0.7,12.37,1.2,19.44), (9.75,12.37,10.25,19.44), (0.7,19.44,10.25,19.94)])
R(sky130_ioring_gpio_pulls, poly, [(3.45,3.82,7.45,5.37), (3.45,5.37,8.55,5.72), (3.45,14.92,8.55,15.27), (3.45,15.27,7.45,16.82)])
A(sky130_ioring_gpio_pulls, licon, 1.015, 0.865, 0.17, 0.17, 9, 2, 1, 7.57)
A(sky130_ioring_gpio_pulls, licon, 0.865, 2.015, 0.17, 0.17, 1, 6, 0, 1)
A(sky130_ioring_gpio_pulls, licon, 9.915, 2.015, 0.17, 0.17, 1, 6, 0, 1)
A(sky130_ioring_gpio_pulls, licon, 3.115, 4.045, 0.17, 0.17, 1, 3, 0, 0.34)
A(sky130_ioring_gpio_pulls, licon, 7.615, 4.045, 0.17, 0.17, 1, 3, 0, 0.34)
A(sky130_ioring_gpio_pulls, licon, 1.015, 12.035, 0.17, 0.17, 9, 2, 1, 7.57)
A(sky130_ioring_gpio_pulls, licon, 0.865, 13.455, 0.17, 0.17, 1, 6, 0, 1)
A(sky130_ioring_gpio_pulls, licon, 9.915, 13.455, 0.17, 0.17, 1, 6, 0, 1)
A(sky130_ioring_gpio_pulls, licon, 3.115, 15.745, 0.17, 0.17, 1, 3, 0, 0.34)
A(sky130_ioring_gpio_pulls, licon, 7.615, 15.745, 0.17, 0.17, 1, 3, 0, 0.34)
R(sky130_ioring_gpio_pulls, licon, [(8.265,5.46,8.435,5.63), (8.265,15.01,8.435,15.18)])
R(sky130_ioring_gpio_pulls, li1, [(0.7,0.7,10.25,1.2), (0.7,1.2,1.2,8.27), (9.75,1.2,10.25,8.27), (2.35,3.2,3.3,3.4), (2.35,3.2,2.55,6.27), (3.1,3.2,3.3,4.955), (7.6,3.985,7.8,6.27), (8.2,5.37,8.5,5.72), (2.3,5.97,2.6,6.27), (7.55,5.97,7.85,6.27), (7.6,5.97,7.8,6.17), (0.7,8.27,10.25,8.77), (0.7,11.87,10.25,12.37), (0.7,12.37,1.2,19.44), (9.75,12.37,10.25,19.44), (2.3,14.37,2.6,14.67), (2.35,14.37,2.55,17.44), (7.55,14.37,7.85,14.67), (7.6,14.37,7.8,16.655), (7.6,14.47,7.8,14.67), (8.2,14.92,8.5,15.27), (3.1,15.685,3.3,17.44), (2.35,17.24,3.3,17.44), (0.7,19.44,10.25,19.94)])
R(sky130_ioring_gpio_pulls, mcon, [(8.265,5.46,8.435,5.63), (2.365,6.035,2.535,6.205), (7.615,6.035,7.785,6.205), (1.615,8.435,1.785,8.605), (3.115,12.035,3.285,12.205), (2.365,14.435,2.535,14.605), (7.615,14.435,7.785,14.605), (8.265,15.01,8.435,15.18)])
R(sky130_ioring_gpio_pulls, met1, [(8.22,5.415,8.48,9.54), (2.32,5.99,2.58,11.04), (7.57,5.99,7.83,10.54), (1.57,8.39,1.83,11.04), (8.18,9.2,8.52,9.54), (8.18,9.7,8.52,10.04), (8.22,9.74,8.48,15.265), (7.53,10.2,7.87,10.54), (7.57,10.24,7.83,14.69), (1.53,10.7,1.87,11.04), (2.28,10.7,2.62,11.04), (2.28,11.2,2.62,11.54), (3.03,11.2,3.37,11.54), (2.32,11.24,2.58,14.69), (3.07,11.24,3.33,12.29)])
R(sky130_ioring_gpio_pulls, via, [(8.275,9.295,8.425,9.445), (8.275,9.795,8.425,9.945), (7.625,10.295,7.775,10.445), (1.625,10.795,1.775,10.945), (2.375,10.795,2.525,10.945), (2.375,11.295,2.525,11.445), (3.125,11.295,3.275,11.445)])
R(sky130_ioring_gpio_pulls, met2, [(1.3,9.2,8.6,9.54), (0.45,9.7,8.6,10.04), (2.15,10.2,7.95,10.54), (1.45,10.7,4.35,11.04), (2.2,11.2,3.5,11.54)])
R(sky130_ioring_gpio_pulls, via2, [(1.45,9.27,1.65,9.47), (0.6,9.77,0.8,9.97), (2.3,10.27,2.5,10.47), (4,10.77,4.2,10.97), (3.15,11.27,3.35,11.47)])
R(sky130_ioring_gpio_pulls, met3, [(1.35,9.17,1.75,20.64), (0.5,9.67,0.9,20.64), (2.2,10.17,2.6,20.64), (3.9,10.67,4.3,20.64), (3.05,11.17,3.45,20.64)])
R(sky130_ioring_gpio_pulls, hvi, [(0.3,0.3,10.65,9.17), (-0.2,10.97,11.15,20.84)])
R(sky130_ioring_gpio_pulls, nsdm, [(2.825,3.845,8.075,5.095), (0.575,11.745,10.375,12.495), (0.575,12.245,1.325,19.565), (9.625,12.245,10.375,19.565), (0.575,19.315,10.375,20.065)])
R(sky130_ioring_gpio_pulls, psdm, [(0.575,0.575,10.375,1.325), (0.575,1.075,1.325,8.395), (9.625,1.075,10.375,8.395), (0.575,8.145,10.375,8.895), (2.825,15.545,8.075,16.795)])
R(sky130_ioring_gpio_pulls, npc, [(8.05,5.27,8.65,5.82), (8.05,14.82,8.65,15.37)])

sky130_ioring_gpio_ls = lib.new_cell('sky130_ioring_gpio_ls')
R(sky130_ioring_gpio_ls, nwell, [(13,9.57,17.5,12.34), (0.4,10.07,11.1,12.34)])
R(sky130_ioring_gpio_ls, diff, [(3.15,1.47,5.65,3.47), (7.8,1.47,10.3,3.47), (17.75,1.47,18.9,2.12), (15.75,10.17,16.9,11.17), (3.15,10.67,4.65,11.17), (6.8,10.67,8.3,11.17)])
R(sky130_ioring_gpio_ls, tap, [(1,0.9,1.5,1.9), (12,0.9,12.5,1.9), (15.6,0.9,16.1,1.9), (1,10.74,1.5,11.74), (10,10.74,10.5,11.74), (13.6,10.74,14.1,11.74)])
R(sky130_ioring_gpio_ls, poly, [(3.65,1.32,4.15,3.87), (4.65,1.32,5.15,3.87), (8.3,1.32,8.8,3.87), (9.3,1.32,9.8,3.87), (18.25,1.32,18.4,2.52), (18.25,2.52,19.5,2.87), (3.65,3.87,6.25,4.22), (8.3,3.87,10.9,4.22), (16.25,9.42,17.5,9.77), (16.25,9.77,16.4,11.32), (3.65,9.92,5.25,10.27), (7.3,9.92,8.9,10.27), (3.65,10.27,4.15,11.32), (7.3,10.27,7.8,11.32)])
A(sky130_ioring_gpio_ls, licon, 1.165, 0.975, 0.17, 0.17, 1, 3, 0, 0.34)
A(sky130_ioring_gpio_ls, licon, 12.165, 0.975, 0.17, 0.17, 1, 3, 0, 0.34)
A(sky130_ioring_gpio_ls, licon, 15.765, 0.975, 0.17, 0.17, 1, 3, 0, 0.34)
A(sky130_ioring_gpio_ls, licon, 3.315, 1.535, 0.17, 0.17, 3, 6, 1, 0.34)
A(sky130_ioring_gpio_ls, licon, 7.965, 1.535, 0.17, 0.17, 3, 6, 1, 0.34)
A(sky130_ioring_gpio_ls, licon, 15.915, 10.245, 0.17, 0.17, 1, 3, 0, 0.34)
A(sky130_ioring_gpio_ls, licon, 16.565, 10.245, 0.17, 0.17, 1, 3, 0, 0.34)
A(sky130_ioring_gpio_ls, licon, 1.165, 10.815, 0.17, 0.17, 1, 3, 0, 0.34)
A(sky130_ioring_gpio_ls, licon, 10.165, 10.815, 0.17, 0.17, 1, 3, 0, 0.34)
A(sky130_ioring_gpio_ls, licon, 13.765, 10.815, 0.17, 0.17, 1, 3, 0, 0.34)
R(sky130_ioring_gpio_ls, licon, [(17.915,1.54,18.085,1.71), (18.565,1.54,18.735,1.71), (17.915,1.88,18.085,2.05), (18.565,1.88,18.735,2.05), (19.215,2.61,19.385,2.78), (5.965,3.96,6.135,4.13), (10.615,3.96,10.785,4.13), (17.215,9.51,17.385,9.68), (4.965,10.01,5.135,10.18), (8.615,10.01,8.785,10.18), (3.315,10.835,3.485,11.005), (4.315,10.835,4.485,11.005), (6.965,10.835,7.135,11.005), (7.965,10.835,8.135,11.005)])
R(sky130_ioring_gpio_ls, li1, [(2.55,0.7,5.5,0.9), (2.55,0.7,2.75,4.77), (3.3,0.7,3.5,3.465), (5.3,0.7,5.5,3.465), (7.2,0.7,10.15,0.9), (7.2,0.7,7.4,4.77), (7.95,0.7,8.15,3.465), (9.95,0.7,10.15,3.465), (17.15,0.7,18.1,0.9), (17.15,0.7,17.35,3.42), (17.9,0.7,18.1,2.11), (1.05,0.95,1.45,1.85), (12.05,0.95,12.45,1.85), (15.65,0.95,16.05,1.85), (4.3,1.475,4.5,4.77), (8.95,1.475,9.15,4.77), (18.55,1.48,18.75,3.42), (1.1,1.85,1.4,2.15), (12.1,1.85,12.4,2.15), (15.7,1.85,16,2.15), (19.15,2.52,19.45,2.87), (17.1,3.12,17.4,3.42), (18.5,3.12,18.8,3.42), (18.55,3.12,18.75,3.32), (5.9,3.87,6.2,4.22), (10.55,3.87,10.85,4.22), (2.5,4.47,2.8,4.77), (4.25,4.47,4.55,4.77), (4.3,4.47,4.5,4.67), (7.15,4.47,7.45,4.77), (8.9,4.47,9.2,4.77), (8.95,4.47,9.15,4.67), (15.1,8.87,15.4,9.17), (15.15,8.87,15.35,11.94), (16.5,8.87,16.8,9.17), (16.55,8.87,16.75,11.155), (16.55,8.97,16.75,9.17), (2.5,9.37,2.8,9.67), (2.55,9.37,2.75,11.94), (4.25,9.37,4.55,9.67), (4.3,9.37,4.5,11.065), (6.15,9.37,6.45,9.67), (6.2,9.37,6.4,11.94), (7.9,9.37,8.2,9.67), (7.95,9.37,8.15,11.065), (17.15,9.42,17.45,9.77), (4.3,9.47,4.5,9.67), (7.95,9.47,8.15,9.67), (4.9,9.92,5.2,10.27), (8.55,9.92,8.85,10.27), (15.9,10.185,16.1,11.94), (1.1,10.49,1.4,10.79), (10.1,10.49,10.4,10.79), (13.7,10.49,14,10.79), (3.3,10.775,3.5,11.94), (6.95,10.775,7.15,11.94), (1.05,10.79,1.45,11.69), (10.05,10.79,10.45,11.69), (13.65,10.79,14.05,11.69), (2.55,11.74,3.5,11.94), (6.2,11.74,7.15,11.94), (15.15,11.74,16.1,11.94)])
R(sky130_ioring_gpio_ls, mcon, [(1.165,1.915,1.335,2.085), (12.165,1.915,12.335,2.085), (15.765,1.915,15.935,2.085), (19.215,2.61,19.385,2.78), (17.165,3.185,17.335,3.355), (18.565,3.185,18.735,3.355), (5.965,3.96,6.135,4.13), (10.615,3.96,10.785,4.13), (2.565,4.535,2.735,4.705), (4.315,4.535,4.485,4.705), (7.215,4.535,7.385,4.705), (8.965,4.535,9.135,4.705), (15.165,8.935,15.335,9.105), (16.565,8.935,16.735,9.105), (2.565,9.435,2.735,9.605), (4.315,9.435,4.485,9.605), (6.215,9.435,6.385,9.605), (7.965,9.435,8.135,9.605), (17.215,9.51,17.385,9.68), (4.965,10.01,5.135,10.18), (8.615,10.01,8.785,10.18), (1.165,10.555,1.335,10.725), (10.165,10.555,10.335,10.725), (13.765,10.555,13.935,10.725)])
R(sky130_ioring_gpio_ls, met1, [(1.12,1.87,1.38,6.54), (12.12,1.87,12.38,6.54), (15.72,1.87,15.98,6.54), (19.17,2.565,19.43,7.04), (17.12,3.14,17.38,6.54), (18.52,3.14,18.78,8.04), (5.92,3.915,6.18,7.04), (10.57,3.915,10.83,8.04), (2.52,4.49,2.78,6.54), (4.27,4.49,4.53,7.54), (7.17,4.49,7.43,6.54), (8.92,4.49,9.18,5.54), (4.88,5.2,5.22,5.54), (7.88,5.2,8.22,5.54), (8.88,5.2,9.22,5.54), (4.92,5.24,5.18,10.265), (7.92,5.24,8.18,9.69), (13.68,5.7,14.02,6.04), (15.08,5.7,15.42,6.04), (13.72,5.74,13.98,10.81), (15.12,5.74,15.38,9.19), (1.08,6.2,1.42,6.54), (2.48,6.2,2.82,6.54), (7.13,6.2,7.47,6.54), (12.08,6.2,12.42,6.54), (15.68,6.2,16.02,6.54), (17.08,6.2,17.42,6.54), (5.88,6.7,6.22,7.04), (17.13,6.7,17.47,7.04), (19.13,6.7,19.47,7.04), (17.17,6.74,17.43,9.765), (4.23,7.2,4.57,7.54), (8.53,7.2,8.87,7.54), (4.27,7.24,4.53,9.69), (8.57,7.24,8.83,10.265), (10.53,7.7,10.87,8.04), (16.48,7.7,16.82,8.04), (18.48,7.7,18.82,8.04), (16.52,7.74,16.78,9.19), (1.08,8.2,1.42,8.54), (2.48,8.2,2.82,8.54), (6.13,8.2,6.47,8.54), (10.08,8.2,10.42,8.54), (1.12,8.24,1.38,10.81), (2.52,8.24,2.78,9.69), (6.17,8.24,6.43,9.69), (10.12,8.24,10.38,10.81)])
R(sky130_ioring_gpio_ls, via, [(4.975,5.295,5.125,5.445), (7.975,5.295,8.125,5.445), (8.975,5.295,9.125,5.445), (13.775,5.795,13.925,5.945), (15.175,5.795,15.325,5.945), (1.175,6.295,1.325,6.445), (2.575,6.295,2.725,6.445), (7.225,6.295,7.375,6.445), (12.175,6.295,12.325,6.445), (15.775,6.295,15.925,6.445), (17.175,6.295,17.325,6.445), (5.975,6.795,6.125,6.945), (17.225,6.795,17.375,6.945), (19.225,6.795,19.375,6.945), (4.325,7.295,4.475,7.445), (8.625,7.295,8.775,7.445), (10.625,7.795,10.775,7.945), (16.575,7.795,16.725,7.945), (18.575,7.795,18.725,7.945), (1.175,8.295,1.325,8.445), (2.575,8.295,2.725,8.445), (6.225,8.295,6.375,8.445), (10.175,8.295,10.325,8.445)])
R(sky130_ioring_gpio_ls, met2, [(1.3,5.2,9.3,5.54), (2.15,5.7,15.5,6.04), (1,6.2,17.5,6.54), (0.45,6.7,19.55,7.04), (4.15,7.2,8.95,7.54), (10.45,7.7,18.9,8.04), (1,8.2,10.5,8.54)])
R(sky130_ioring_gpio_ls, via2, [(1.45,5.27,1.65,5.47), (2.3,5.77,2.5,5.97), (4,6.27,4.2,6.47), (0.6,6.77,0.8,6.97), (3.15,8.27,3.35,8.47)])
R(sky130_ioring_gpio_ls, met3, [(1.35,5.17,1.75,12.64), (2.2,5.67,2.6,12.64), (3.9,6.17,4.3,12.64), (0.5,6.67,0.9,12.64), (3.05,8.17,3.45,12.64)])
R(sky130_ioring_gpio_ls, hvi, [(0.6,0.5,12.9,3.87), (0.1,9.77,11.4,12.64)])
R(sky130_ioring_gpio_ls, nsdm, [(3.025,1.345,5.775,3.595), (7.675,1.345,10.425,3.595), (17.625,1.345,19.025,2.245), (0.875,10.615,1.625,11.865), (9.875,10.615,10.625,11.865), (13.475,10.615,14.225,11.865)])
R(sky130_ioring_gpio_ls, psdm, [(0.875,0.775,1.625,2.025), (11.875,0.775,12.625,2.025), (15.475,0.775,16.225,2.025), (15.625,10.045,17.025,11.295), (3.025,10.545,4.775,11.295), (6.675,10.545,8.425,11.295)])
R(sky130_ioring_gpio_ls, npc, [(19,2.42,19.6,2.97), (5.75,3.77,6.35,4.32), (10.4,3.77,11,4.32), (17,9.32,17.6,9.87), (4.75,9.82,5.35,10.37), (8.4,9.82,9,10.37)])

sky130_ioring_gpio_asm_a = lib.new_cell('sky130_ioring_gpio_asm_a')
R(sky130_ioring_gpio_asm_a, met2, [(7.1,21.77,10.15,22.11), (12.2,22.27,57.4,22.61), (13.05,22.77,58.25,23.11), (15.6,23.27,24,23.61), (1.15,23.77,1.65,24.11), (2,24.27,2.5,24.61), (2,24.97,15.25,25.31), (2.85,25.47,3.35,25.81), (2.85,26.17,46.35,26.51), (3.7,26.67,4.2,27.01), (3.7,27.37,59.1,27.71), (1.15,27.87,5.05,28.21), (4.55,28.57,59.95,28.91), (5.4,29.07,23.15,29.41), (6.25,29.57,44.65,29.91), (45,30.07,56.55,30.41)])
R(sky130_ioring_gpio_asm_a, via2, [(7.25,21.84,7.45,22.04), (9.8,21.84,10,22.04), (12.35,22.34,12.55,22.54), (57.05,22.34,57.25,22.54), (13.2,22.84,13.4,23.04), (57.9,22.84,58.1,23.04), (15.75,23.34,15.95,23.54), (23.65,23.34,23.85,23.54), (1.3,23.84,1.5,24.04), (2.15,24.34,2.35,24.54), (2.15,25.04,2.35,25.24), (14.9,25.04,15.1,25.24), (3,25.54,3.2,25.74), (3,26.24,3.2,26.44), (8.1,26.24,8.3,26.44), (10.65,26.24,10.85,26.44), (24.5,26.24,24.7,26.44), (46,26.24,46.2,26.44), (3.85,26.74,4.05,26.94), (3.85,27.44,4.05,27.64), (14.05,27.44,14.25,27.64), (25.35,27.44,25.55,27.64), (46.85,27.44,47.05,27.64), (58.75,27.44,58.95,27.64), (1.3,27.94,1.5,28.14), (4.7,27.94,4.9,28.14), (4.7,28.64,4.9,28.84), (8.95,28.64,9.15,28.84), (11.5,28.64,11.7,28.84), (26.2,28.64,26.4,28.84), (47.7,28.64,47.9,28.84), (59.6,28.64,59.8,28.84), (5.55,29.14,5.75,29.34), (22.8,29.14,23,29.34), (6.4,29.64,6.6,29.84), (44.3,29.64,44.5,29.84), (45.15,30.14,45.35,30.34), (56.2,30.14,56.4,30.34)])
A(sky130_ioring_gpio_asm_a, met3, 2.9, 26.14, 0.4, 4.8, 3, 1, 21.5, 0)
A(sky130_ioring_gpio_asm_a, met3, 3.75, 27.34, 0.4, 3.6, 3, 1, 21.5, 0)
A(sky130_ioring_gpio_asm_a, met3, 4.6, 28.54, 0.4, 2.4, 3, 1, 21.5, 0)
R(sky130_ioring_gpio_asm_a, met3, [(1.2,20.14,1.6,24.14), (2.05,20.14,2.45,24.64), (2.9,20.14,3.3,25.84), (3.75,20.14,4.15,27.04), (4.6,20.14,5,28.24), (5.45,20.14,5.85,29.44), (6.3,20.14,6.7,29.94), (7.15,20.14,7.55,22.14), (8,20.14,8.4,26.54), (8.85,20.14,9.25,28.94), (56.1,21.14,56.5,30.44), (56.95,21.14,57.35,22.64), (57.8,21.14,58.2,23.14), (58.65,21.14,59.05,27.74), (59.5,21.14,59.9,28.94), (9.7,21.74,10.1,44.08), (12.25,22.24,12.65,44.08), (13.1,22.74,13.5,44.08), (15.65,23.24,16.05,44.08), (23.55,23.24,23.95,30.94), (2.05,24.94,2.45,30.94), (14.8,24.94,15.2,44.08), (10.55,26.14,10.95,44.08), (13.95,27.34,14.35,44.08), (1.2,27.84,1.6,30.94), (11.4,28.54,11.8,44.08), (22.7,29.04,23.1,30.94), (44.2,29.54,44.6,30.94), (45.05,30.04,45.45,30.94)])
sky130_ioring_gpio_asm_a.add(gdstk.Reference(sky130_ioring_gpio_logic, (0.7,0.7)))
sky130_ioring_gpio_asm_a.add(gdstk.Reference(sky130_ioring_gpio_pulls, (55.6,0.7)))
sky130_ioring_gpio_asm_a.add(gdstk.Reference(sky130_ioring_gpio_ls, (0.7,43.38), x_reflection=True))
sky130_ioring_gpio_asm_a.add(gdstk.Reference(sky130_ioring_gpio_ls, (22.2,43.38), x_reflection=True))
sky130_ioring_gpio_asm_a.add(gdstk.Reference(sky130_ioring_gpio_ls, (43.7,43.38), x_reflection=True))
sky130_ioring_gpio_asm_a.add(gdstk.Label('A', (1.4,23.94), layer=69, texttype=5))
sky130_ioring_gpio_asm_a.add(gdstk.Label('NG_C', (5.65,29.24), layer=69, texttype=5))
sky130_ioring_gpio_asm_a.add(gdstk.Label('OE', (2.25,24.44), layer=69, texttype=5))
sky130_ioring_gpio_asm_a.add(gdstk.Label('PD', (3.95,26.84), layer=69, texttype=5))
sky130_ioring_gpio_asm_a.add(gdstk.Label('PG_C', (1.4,28.04), layer=69, texttype=5))
sky130_ioring_gpio_asm_a.add(gdstk.Label('PU', (3.1,25.64), layer=69, texttype=5))
sky130_ioring_gpio_asm_a.add(gdstk.Label('PUN', (45.25,30.24), layer=69, texttype=5))
sky130_ioring_gpio_asm_a.add(gdstk.Label('PUN_C', (6.5,29.74), layer=69, texttype=5))

lib.write_gds('sky130_ioring_gpio_asm_a.gds')
